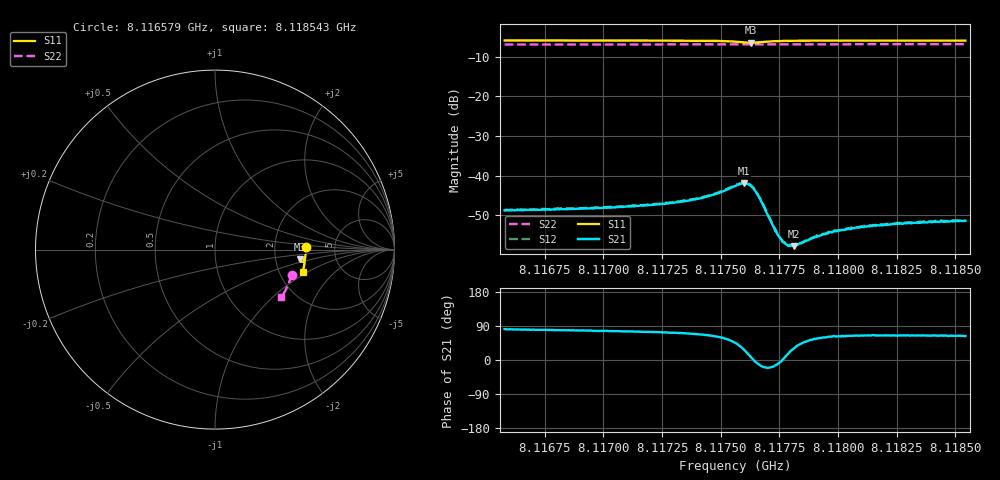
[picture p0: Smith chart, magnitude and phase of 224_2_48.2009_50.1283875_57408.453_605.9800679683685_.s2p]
#  HZ  S  RI  R  50.00
! Rohde & Schwarz Vector Network Analyzer
! Rohde-Schwarz,ZNB20-2Port,1311601062101988,3.16
! Created: UTC 3/20/2024, 11:46:04 AM
! freq[Hz]  re:S11  im:S11  re:S21  im:S21  re:S12  im:S12  re:S22  im:S22
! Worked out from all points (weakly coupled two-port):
!   401 points, 8.116579 GHz to 8.118543 GHz, reference 50 ohm
!   highest |S21| = -41.97 dB at 8.1176 GHz (marker M1); lowest = -57.8 dB at 8.117811 GHz (marker M2)
!   lowest |S11| = -6.5 dB at 8.117629 GHz (marker M3), VSWR 2.81, Z = 137 - j19.5 ohm
!   |S11| at or under -10 dB: nowhere
!   |S22| runs from -6.9 to -6.8 dB; largest |S21 - S12| = 0.00021
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8.1165786e9  0.5067 0.0152  0.000531 0.00359  0.00064 0.00366  0.4274 -0.1411
8.1169076e9  0.5061 -0.0101  0.000809 0.00375  0.000884 0.00375  0.4203 -0.1628
8.1172366e9  0.5039 -0.0366  0.00122 0.00415  0.00131 0.00418  0.4124 -0.1845
8.1174183e9  0.5 -0.0536  0.00202 0.00477  0.00209 0.00487  0.4072 -0.1962
8.1174919e9  0.4957 -0.0618  0.00293 0.00526  0.00305 0.00537  0.405 -0.2012
8.1175607e9  0.4852 -0.0684  0.00516 0.00527  0.00534 0.00534  0.4026 -0.2054
8.1176e9  0.4748 -0.065  0.00712 0.00358  0.00731 0.00357  0.401 -0.2075
8.1176147e9  0.4721 -0.0605  0.00745 0.0023  0.00763 0.00228  0.4007 -0.2083
8.1176294e9  0.4718 -0.0549  0.00728 0.000879  0.00743 0.000845  0.4002 -0.2086
8.1176442e9  0.4743 -0.0501  0.00655 -0.000284  0.00669 -0.000328  0.4 -0.2095
8.1176638e9  0.4799 -0.0465  0.00513 -0.00116  0.00525 -0.0012  0.3998 -0.2107
8.1177276e9  0.4938 -0.0515  0.00208 -0.000614  0.00212 -0.000646  0.3983 -0.2147
8.1177522e9  0.4959 -0.055  0.0016 -0.000169  0.00164 -0.000193  0.3978 -0.2165
8.1177718e9  0.4972 -0.0578  0.00141 0.000157  0.00142 0.000144  0.3971 -0.2178
8.1177866e9  0.4977 -0.0597  0.00125 0.00035  0.00132 0.000358  0.3969 -0.2186
8.1178111e9  0.4984 -0.0628  0.00111 0.000643  0.00115 0.000655  0.396 -0.2203
8.1178897e9  0.4989 -0.0714  0.000949 0.00132  0.000975 0.00132  0.3936 -0.2252
8.1179142e9  0.4988 -0.0738  0.000924 0.00144  0.000943 0.00148  0.3927 -0.2268
8.1179928e9  0.4981 -0.081  0.000922 0.00175  0.000942 0.0018  0.3902 -0.2317
8.1181205e9  0.4967 -0.0916  0.00097 0.00205  0.000984 0.00209  0.3859 -0.2397
8.1182187e9  0.495 -0.0994  0.00101 0.00217  0.00105 0.00223  0.3824 -0.2458
8.1185428e9  0.4894 -0.1239  0.00121 0.00239  0.00123 0.00243  0.3704 -0.265
